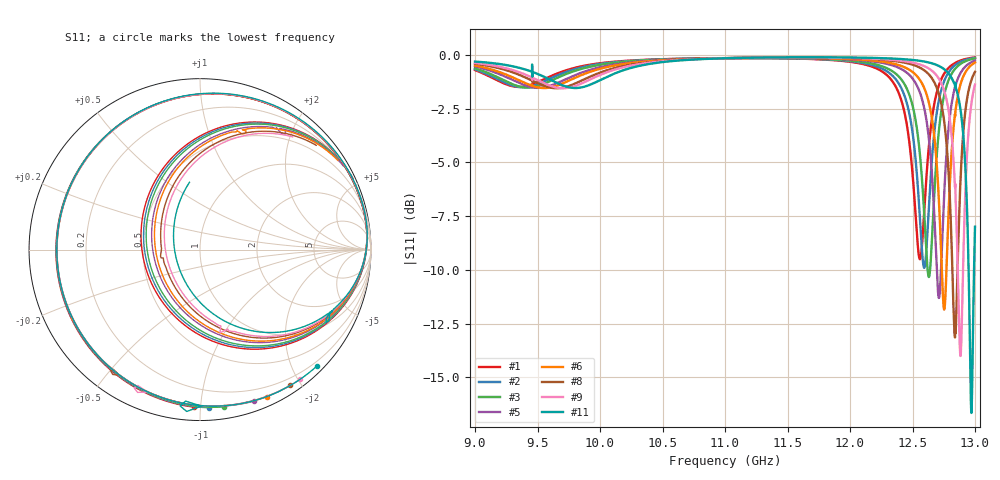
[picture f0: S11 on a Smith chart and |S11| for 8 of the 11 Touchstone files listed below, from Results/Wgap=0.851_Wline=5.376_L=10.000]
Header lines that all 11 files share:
! TOUCHSTONE file generated by CST DESIGN STUDIO
! Project name: C:\Work\MatlabApps\UnitCellOptimizationMatlab\CST\unitcell.cst
! Tree item: Tasks\Sweep1\SPara1\S-Parameters
! Header version: 2024
! Port assignment regex: !\s*Touchstone port\s*([0-9]+)\s*=\s*(CST MWS port|CST DES external port|CST DES block port)\s*(.+)\s* \(\"(.*)\"\)(\s*mode\s*([0-9]+))?.*
! Touchstone port assignment:
! Touchstone port 1 = CST DES external port 1 ("")
# GHz S MA R 50
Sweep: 9 GHz to 13 GHz
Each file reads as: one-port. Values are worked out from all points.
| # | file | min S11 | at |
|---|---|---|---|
| 1 | DS_for_MWS-run-0001.s1p | -9.5 dB | 12.56 GHz |
| 2 | DS_for_MWS-run-0002.s1p | -9.9 dB | 12.59 GHz |
| 3 | DS_for_MWS-run-0003.s1p | -10.3 dB | 12.63 GHz |
| 4 | DS_for_MWS-run-0004.s1p | -10.8 dB | 12.67 GHz |
| 5 | DS_for_MWS-run-0005.s1p | -11.3 dB | 12.71 GHz |
| 6 | DS_for_MWS-run-0006.s1p | -11.8 dB | 12.75 GHz |
| 7 | DS_for_MWS-run-0007.s1p | -12.4 dB | 12.8 GHz |
| 8 | DS_for_MWS-run-0008.s1p | -13.1 dB | 12.84 GHz |
| 9 | DS_for_MWS-run-0009.s1p | -14.0 dB | 12.88 GHz |
| 10 | DS_for_MWS-run-0010.s1p | -15.1 dB | 12.93 GHz |
| 11 | DS_for_MWS-run-0011.s1p | -16.7 dB | 12.97 GHz |
